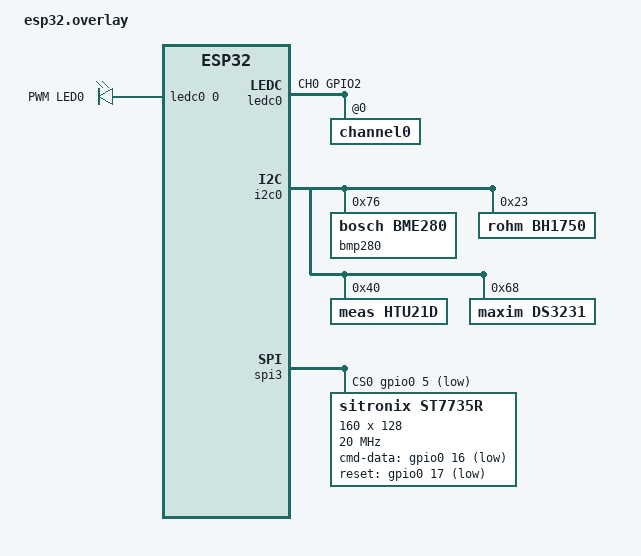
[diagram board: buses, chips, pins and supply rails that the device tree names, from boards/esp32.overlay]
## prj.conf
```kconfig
# Minimal libc doesn't have strftime()
CONFIG_NEWLIB_LIBC=y
CONFIG_SENSOR=y
CONFIG_COUNTER=y
CONFIG_COUNTER_NATIVE_POSIX=y
CONFIG_LV_Z_MEM_POOL_NUMBER_BLOCKS=8
CONFIG_MAIN_STACK_SIZE=2048
CONFIG_PWM=y
CONFIG_DISPLAY=y
CONFIG_DISPLAY_LOG_LEVEL_ERR=y
CONFIG_LOG=y
CONFIG_LVGL=y
CONFIG_LV_MEM_CUSTOM=y
CONFIG_LV_USE_LOG=y
CONFIG_LV_USE_LABEL=y
CONFIG_LV_COLOR_16_SWAP=y
CONFIG_BT=y
CONFIG_BT_SMP=y
CONFIG_BT_PERIPHERAL=y
CONFIG_BT_DEVICE_NAME="ESPerimental idIoT"
CONFIG_BT_DEVICE_APPEARANCE=768
CONFIG_SHELL=y
```

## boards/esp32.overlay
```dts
/*
 * Copyright (c) 2022 Gaël PORTAY
 *
 * SPDX-License-Identifier: LGPL-2.1-or-later
 */

#include <zephyr/dt-bindings/pwm/pwm.h>
#include <dt-bindings/pinctrl/esp32-pinctrl.h>

/ {
	chosen {
		zephyr,display = &st7735r;
		zephyr,native-posix-counter = &ds3231;
	};

	aliases {
		pwm-0 = &ledc0;
		pwm-led0 = &pwm_led_blue;
	};

	pwmleds {
		compatible = "pwm-leds";
		pwm_led_blue: pwm_led_gpio0_2 {
			label = "PWM LED0";
			pwms = <&ledc0 0 1000 PWM_POLARITY_NORMAL>;
		};
	};
};

&pinctrl {
	ledc0_default: ledc0_default {
		group1 {
			pinmux = <LEDC_CH0_GPIO2>;
			output-enable;
		};
	};
};

&ledc0 {
	pinctrl-0 = <&ledc0_default>;
	pinctrl-names = "default";
	status = "okay";
	#address-cells = <1>;
	#size-cells = <0>;
	channel0@0 {
		reg = <0x0>;
		timer = <0>;
	};
};

&i2c0 {
	status = "okay";
	bmp280@76 {
		compatible = "bosch,bme280";
		reg = <0x76>;
	};
	bh1750@23 {
		compatible = "rohm,bh1750";
		reg = <0x23>;
	};
	htu21d@40 {
		compatible = "meas,htu21d";
		reg = <0x40>;
	};
	ds3231: ds3231@68 {
		compatible = "maxim,ds3231";
		reg = <0x68>;
	};
};

&spi3 {
	cs-gpios = <&gpio0 5 GPIO_ACTIVE_LOW>;
	status = "okay";
	st7735r: st7735r@0 {
		compatible = "sitronix,st7735r";
		spi-max-frequency = <20000000>;
		reg = <0>;
		cmd-data-gpios = <&gpio0 16 GPIO_ACTIVE_LOW>;
		reset-gpios = <&gpio0 17 GPIO_ACTIVE_LOW>;
		width = <160>;
		height = <128>;
		x-offset = <0>;
		y-offset = <0>;
		madctl = <0x60>;
		colmod = <0x55>;
		vmctr1 = <0x0e>;
		pwctr1 = [a2 02 84];
		pwctr2 = [c5];
		pwctr3 = [0a 00];
		pwctr4 = [8a 2a];
		pwctr5 = [8a ee];
		frmctr1 = [01 2c 2d];
		frmctr2 = [01 2c 2d];
		frmctr3 = [01 2c 2d 01 2c 2d];
		gamctrp1 = [02 1c 07 12 37 32 29 2d 29 25 2b 39 00 01 03 10];
		gamctrn1 = [03 1d 07 06 2e 2c 29 2d 2e 2e 37 3f 00 00 02 10];
	};
};
```

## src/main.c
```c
/*
 * Copyright (c) 2022 Gaël PORTAY
 *
 * SPDX-License-Identifier: Apache-2.0
 */

#include <zephyr/kernel.h>
#include <zephyr/device.h>
#include <zephyr/devicetree.h>
#include <zephyr/drivers/sensor.h>
#include <zephyr/drivers/counter.h>
#include <zephyr/drivers/pwm.h>
#include <zephyr/drivers/display.h>
#if defined(CONFIG_BT)
#include <zephyr/bluetooth/bluetooth.h>
#include <zephyr/bluetooth/hci.h>
#include <zephyr/bluetooth/conn.h>
#include <zephyr/bluetooth/uuid.h>
#include <zephyr/bluetooth/gatt.h>
#include <zephyr/bluetooth/services/bas.h>
#endif
#include <zephyr/sys/byteorder.h>
#if defined(CONFIG_NEWLIB_LIBC)
#include <time.h>
#endif
#if defined(CONFIG_LVGL)
#include <lvgl.h>
#endif

static struct sensor_value bme280_temp;
static struct sensor_value bme280_press;
static struct sensor_value bh1750_light;
static struct sensor_value htu21d_humidity;
static struct sensor_value htu21d_temp;

#if defined(CONFIG_LVGL)
static lv_obj_t *time_label;

static void time_update_label(uint32_t timestamp)
{
#if defined(CONFIG_NEWLIB_LIBC)
	time_t time = timestamp;
	struct tm tv, *tp;
	char buf[7];
	size_t siz;

	tp = gmtime_r(&time, &tv);
	if (tp == NULL) {
		printk("Warning: Failed to gmtime_r()\n");
		return;
	}

	siz = strftime(buf, sizeof(buf), "%H:%M", tp);
	if (siz == 0) {
		printk("Warning: Failed to strftime()\n");
		return;
	}

	lv_label_set_text(time_label, buf);
#else
	lv_label_set_text_fmt(time_label, "%u", timestamp);
#endif
}
#else
static inline void time_update_label(uint32_t timestamp)
{
}
#endif

#if defined(CONFIG_BT)
static uint8_t ble_connections;

#if defined(CONFIG_LVGL)
static lv_obj_t *ble_label;

static void bt_update_label(unsigned int *passkey)
{
	if (passkey)
		lv_label_set_text_fmt(ble_label, LV_SYMBOL_BLUETOOTH "%06u",
				      *passkey);
	else if (ble_connections)
		lv_label_set_text(ble_label, LV_SYMBOL_BLUETOOTH);
	else
		lv_label_set_text(ble_label, "");
}
#else
static inline void bt_update_label(unsigned int * const)
{
}
#endif

static ssize_t read_temperature(struct bt_conn *conn,
			   const struct bt_gatt_attr *attr,
			   void *buf,
			   uint16_t len,
			   uint16_t offset)
{
	const struct sensor_value *val = attr->user_data;
	int16_t value = sys_cpu_to_le16(val->val1) * 100 + \
			sys_cpu_to_le16(val->val2) / 10000;

	return bt_gatt_attr_read(conn, attr, buf, len, offset, &value,
				 sizeof(value));
}

static ssize_t read_pressure(struct bt_conn *conn,
			     const struct bt_gatt_attr *attr,
			     void *buf,
			     uint16_t len,
			     uint16_t offset)
{
	const struct sensor_value *val = attr->user_data;
	uint32_t value = sys_cpu_to_le16(val->val1) * 10 + \
			 sys_cpu_to_le16(val->val2) / 100000;

	return bt_gatt_attr_read(conn, attr, buf, len, offset, &value,
				 sizeof(value));
}

static ssize_t read_humidity(struct bt_conn *conn,
			     const struct bt_gatt_attr *attr,
			     void *buf,
			     uint16_t len,
			     uint16_t offset)
{
	const struct sensor_value *val = attr->user_data;
	uint16_t value = sys_cpu_to_le16(val->val1) * 100 + \
			 sys_cpu_to_le16(val->val2) / 10000;

	return bt_gatt_attr_read(conn, attr, buf, len, offset, &value,
				 sizeof(value));
}

static ssize_t read_illuminance(struct bt_conn *conn,
			   const struct bt_gatt_attr *attr,
			   void *buf,
			   uint16_t len,
			   uint16_t offset)
{
	const struct sensor_value *val = attr->user_data;
	uint32_t value = sys_cpu_to_le16(val->val1);

	return bt_gatt_attr_read(conn, attr, buf, len, offset, &value,
				 sizeof(value)-1); /* 24 bits */
}

#define CUSTOM_UUID_ILLUMINANCE &ess_illuminance_uuid.uuid

/* Characteristic UUID 4f371c81-f2e5-414b-9feb-fcda9c55fee1 */
static struct bt_uuid_128 ess_illuminance_uuid = BT_UUID_INIT_128(
                BT_UUID_128_ENCODE(0x4f371c81, 0xf2e5, 0x414b, 0x9feb, 0xfcda9c55fee1));

struct bt_gatt_cpf illuminance_cpf = {
	.format = 0,
	.exponent = 1,
	.unit = 0x2731, /* illuminance (lux) */
	.name_space = 0,
	.description = 0,
};

BT_GATT_SERVICE_DEFINE(ess_svc,
	BT_GATT_PRIMARY_SERVICE(BT_UUID_ESS),
	BT_GATT_CHARACTERISTIC(BT_UUID_TEMPERATURE,
			       BT_GATT_CHRC_READ,
			       BT_GATT_PERM_READ,
			       read_temperature,
			       NULL,
			       &bme280_temp),
	BT_GATT_CHARACTERISTIC(BT_UUID_PRESSURE,
			       BT_GATT_CHRC_READ,
			       BT_GATT_PERM_READ,
			       read_pressure,
			       NULL,
			       &bme280_press),
	BT_GATT_CHARACTERISTIC(BT_UUID_HUMIDITY,
			       BT_GATT_CHRC_READ,
			       BT_GATT_PERM_READ,
			       read_humidity,
			       NULL,
			       &htu21d_humidity),
	BT_GATT_CHARACTERISTIC(CUSTOM_UUID_ILLUMINANCE,
			       BT_GATT_CHRC_READ,
			       BT_GATT_PERM_READ,
			       read_illuminance,
			       NULL,
			       &bh1750_light),
	BT_GATT_CUD("Illuminance", BT_GATT_PERM_READ),
	BT_GATT_CPF(&illuminance_cpf),
);

static const struct bt_data ad[] = {
	BT_DATA_BYTES(BT_DATA_FLAGS, (BT_LE_AD_GENERAL | BT_LE_AD_NO_BREDR)),
	BT_DATA_BYTES(BT_DATA_GAP_APPEARANCE, 0x00, 0x03),
	BT_DATA_BYTES(BT_DATA_UUID16_ALL, BT_UUID_16_ENCODE(BT_UUID_ESS_VAL)),
};

static void connected(struct bt_conn *conn, uint8_t err)
{
	ble_connections++;

	bt_update_label(NULL);
}

static void disconnected(struct bt_conn *conn, uint8_t reason)
{
	ble_connections--;

	bt_update_label(NULL);
}

BT_CONN_CB_DEFINE(conn_callbacks) = {
	.connected = connected,
	.disconnected = disconnected,
};

static void auth_passkey_display(struct bt_conn *conn, unsigned int passkey)
{
	bt_update_label(&passkey);

	printk("Passkey: %06u\n", passkey);
}

static void auth_cancel(struct bt_conn *conn)
{
	bt_update_label(NULL);

	printk("Pairing cancelled\n");
}

static struct bt_conn_auth_cb auth_cb_display = {
	.passkey_display = auth_passkey_display,
	.passkey_entry = NULL,
	.cancel = auth_cancel,
};

static void bt_ready(int err)
{
	if (err)
		return;

	err = bt_le_adv_start(BT_LE_ADV_CONN_NAME, ad, ARRAY_SIZE(ad), NULL,
			      0);
	if (err)
		return;

	err = bt_conn_auth_cb_register(&auth_cb_display);
	if (err)
		return;
}
#endif

static const struct device *get_bme280_device(void)
{
	const struct device *dev = NULL;

#if defined(CONFIG_BME280)
	dev = DEVICE_DT_GET_ANY(bosch_bme280);
#endif
	if (dev == NULL)
		return NULL;

	if (!device_is_ready(dev))
		return NULL;

	return dev;
}

static const struct device *get_bh1750_device(void)
{
	const struct device *dev = NULL;

#if defined(CONFIG_BH1750)
	dev = DEVICE_DT_GET_ANY(rohm_bh1750);
#endif
	if (dev == NULL)
		return NULL;

	if (!device_is_ready(dev))
		return NULL;

	return dev;
}

static const struct device *get_htu21d_device(void)
{
	const struct device *dev = NULL;

#if defined(CONFIG_HTU21D)
	dev = DEVICE_DT_GET_ANY(meas_htu21d);
#endif
	if (dev == NULL)
		return NULL;

	if (!device_is_ready(dev))
		return NULL;

	return dev;
}

static const struct device *get_counter_device(void)
{
	const struct device *dev = NULL;

#if defined(CONFIG_DISPLAY)
	dev = DEVICE_DT_GET(DT_CHOSEN(zephyr_native_posix_counter));
#endif
	if (dev == NULL)
		return NULL;

	if (!device_is_ready(dev))
		return NULL;

	return dev;
}

static const struct device *get_display_device(void)
{
	const struct device *dev = NULL;

#if defined(CONFIG_DISPLAY)
	dev = DEVICE_DT_GET(DT_CHOSEN(zephyr_display));
#endif
	if (dev == NULL)
		return NULL;

	if (!device_is_ready(dev))
		return NULL;

	return dev;
}

static const struct pwm_dt_spec pwm_led = PWM_DT_SPEC_GET(DT_ALIAS(pwm_led0));

void main(void)
{
	const struct device *bme280_dev, *bh1750_dev, *htu21d_dev;
	const struct device *counter_dev;
	const struct device *display_dev;
#if defined(CONFIG_LVGL)
	lv_obj_t *temp_label, *press_label, *humidity_label;
#endif
	uint32_t now = 0;
#if defined(CONFIG_BT) || defined(CONFIG_PWM)
	int err;
#endif

	bme280_dev = get_bme280_device();
	if (bme280_dev == NULL)
		printk("Warning: BME280: No such sensor\n");

	bh1750_dev = get_bh1750_device();
	if (bh1750_dev == NULL)
		printk("Warning: BH1750: No such sensor\n");

	htu21d_dev = get_htu21d_device();
	if (htu21d_dev == NULL)
		printk("Warning: HTU21D: No such sensor\n");

	counter_dev = get_counter_device();
	if (counter_dev == NULL)
		printk("Warning: No such counter\n");

	display_dev = get_display_device();
	if (display_dev == NULL)
		printk("Warning: No such display\n");

#if defined(CONFIG_LVGL)
	time_label = lv_label_create(lv_scr_act());
	lv_label_set_text(time_label, "00:00");
	lv_obj_align(time_label, LV_ALIGN_TOP_LEFT, 0, 0);

#if defined(CONFIG_BT)
	ble_label = lv_label_create(lv_scr_act());
	lv_label_set_text(ble_label, "");
	lv_obj_align(ble_label, LV_ALIGN_TOP_RIGHT, 0, 0);
#endif

	temp_label = lv_label_create(lv_scr_act());
	lv_label_set_text(temp_label, "0.0°C");
	lv_obj_align(temp_label, LV_ALIGN_CENTER, 0, 0);

	press_label = lv_label_create(lv_scr_act());
	lv_label_set_text(press_label, "0.0Pa");
	lv_obj_align(press_label, LV_ALIGN_BOTTOM_LEFT, 0, 0);

	humidity_label = lv_label_create(lv_scr_act());
	lv_label_set_text(humidity_label, "0%");
	lv_obj_align(humidity_label, LV_ALIGN_BOTTOM_RIGHT, 0, 0);

	lv_task_handler();
	display_blanking_off(display_dev);
#endif

#if defined(CONFIG_BT)
	err = bt_enable(bt_ready);
	if (err)
		printk("Warning: Bluetooth disabled\n");
#endif

	while (1) {
		uint32_t pulse;

		if (bme280_dev) {
			sensor_sample_fetch(bme280_dev);
			sensor_channel_get(bme280_dev,
					   SENSOR_CHAN_AMBIENT_TEMP,
					   &bme280_temp);
			sensor_channel_get(bme280_dev, SENSOR_CHAN_PRESS,
					   &bme280_press);
		}

		if (bh1750_dev) {
			sensor_sample_fetch(bh1750_dev);
			sensor_channel_get(bh1750_dev, SENSOR_CHAN_LIGHT,
					   &bh1750_light);
		}

		if (htu21d_dev) {
			sensor_sample_fetch(htu21d_dev);
			sensor_channel_get(htu21d_dev, SENSOR_CHAN_HUMIDITY,
					   &htu21d_humidity);
			sensor_channel_get(htu21d_dev,
					   SENSOR_CHAN_AMBIENT_TEMP,
					   &htu21d_temp);
		}

		if (counter_dev) {
			err = counter_get_value(counter_dev, &now);
			if (err)
				printk("Warning: counter: Failed to get value: %i\n",
				       err);
		}

#if defined(CONFIG_PWM)
		pulse = bh1750_light.val1 * 5;
		if (pulse < 333)
			pulse = 333;
		else if (pulse > pwm_led.period)
			pulse = pwm_led.period;
		err = pwm_set_pulse_dt(&pwm_led, pulse);
		if (err)
			printk("Warning: pwm_led: Failed to set pulse width: %i\n",
			       err);
#endif

#if defined(CONFIG_LVGL)
		lv_label_set_text_fmt(temp_label, "%d.%d°C", bme280_temp.val1,
				      bme280_temp.val2 / 100000);

		lv_label_set_text_fmt(press_label, "%d.%dPa",
				      bme280_press.val1,
				      bme280_press.val2 / 100000);

		lv_label_set_text_fmt(humidity_label, "%d%%",
				      htu21d_humidity.val1);

		lv_task_handler();
#endif

		time_update_label(now);

		k_sleep(K_MSEC(1000));
	}
}
```
